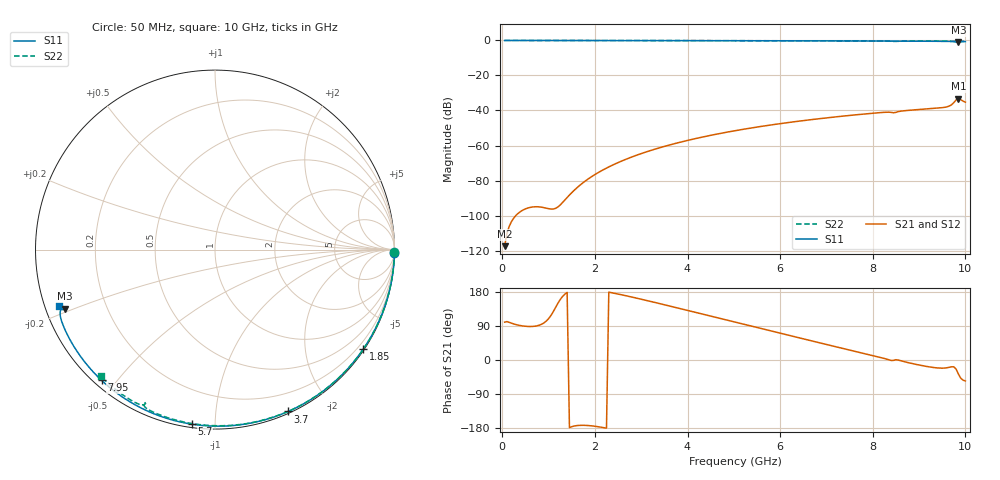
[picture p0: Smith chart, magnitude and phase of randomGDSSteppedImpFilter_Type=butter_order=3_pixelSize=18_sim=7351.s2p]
! freq	dB(S11)	phase(S11)	dB(S12)	phase(S12)
!  dB(S21)	phase(S21)	dB(S22)	phase(S22)
!S-par simulation data
#  GHz  S  DB  R 50
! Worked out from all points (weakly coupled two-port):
!   200 points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, 50 MHz to 10 GHz, reference 50 ohm
!   highest |S21| = -33.22 dB at 9.85 GHz (marker M1); lowest = -117.5 dB at 50 MHz (marker M2)
!   lowest |S11| = -0.9 dB at 9.85 GHz (marker M3), VSWR 18.43, Z = 2.81 - j9.45 ohm
!   |S11| at or under -10 dB: nowhere
!   |S22| runs from -0.6 to 0.0 dB; largest |S21 - S12| = 0
!   S11 on the Smith chart (normalised r, x): 50 MHz: open; 1.85 GHz: 0.03, -3.29; 3.7 GHz: 0.02, -1.55; 5.7 GHz: 0.02, -0.88; 7.95 GHz: 0.02, -0.46; 10 GHz: 0.04, -0.18
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0.05  -0.00 -0.9  -117.50 99.9  -117.50 99.9  -0.00 -0.8
0.85  -0.02 -15.7  -95.23 94.4  -95.23 94.4  -0.02 -12.9
1.75  -0.04 -32.0  -81.13 -172.3  -81.13 -172.3  -0.03 -26.3
1.8  -0.04 -32.9  -80.13 -172.5  -80.13 -172.5  -0.03 -27.1
1.85  -0.04 -33.8  -79.19 -172.9  -79.19 -172.9  -0.04 -27.8
2.15  -0.05 -39.1  -74.29 -177.7  -74.29 -177.7  -0.04 -32.2
2.5  -0.06 -45.2  -69.75 174.1  -69.75 174.1  -0.05 -37.3
2.9  -0.07 -52.2  -65.55 163.2  -65.55 163.2  -0.06 -43.1
3.4  -0.08 -60.7  -61.27 148.8  -61.27 148.8  -0.07 -50.2
3.7  -0.09 -65.7  -59.07 139.9  -59.07 139.9  -0.07 -54.3
5.05  -0.14 -87.5  -51.43 99.2  -51.43 99.2  -0.11 -72.6
5.7  -0.16 -97.5  -48.65 79.6  -48.65 79.6  -0.13 -81.0
6.7  -0.22 -112.6  -45.13 49.8  -45.13 49.8  -0.18 -93.6
7.95  -0.31 -131.0  -41.69 13.3  -41.69 13.3  -0.26 -108.8
8.35  -0.35 -136.8  -40.96 0.4  -40.96 0.4  -0.36 -114.1
8.45  -0.36 -138.3  -41.31 -0.9  -41.31 -0.9  -0.57 -114.8
8.65  -0.38 -141.3  -40.23 -3.5  -40.23 -3.5  -0.36 -116.1
9.55  -0.51 -155.2  -38.19 -21.3  -38.19 -21.3  -0.41 -126.8
9.7  -0.62 -158.0  -36.76 -17.9  -36.76 -17.9  -0.42 -128.5
9.8  -0.89 -159.2  -33.94 -24.1  -33.94 -24.1  -0.43 -129.6
9.85  -0.94 -158.5  -33.22 -37.3  -33.22 -37.3  -0.42 -130.2
10  -0.65 -160.0  -35.26 -55.3  -35.26 -55.3  -0.44 -132.0
